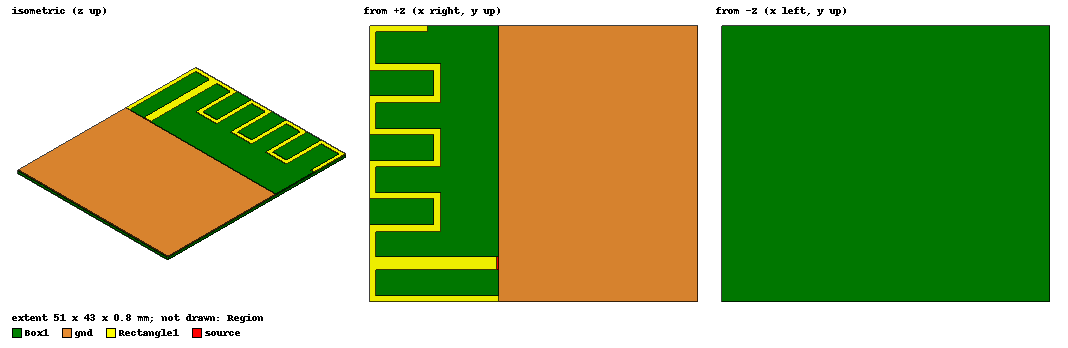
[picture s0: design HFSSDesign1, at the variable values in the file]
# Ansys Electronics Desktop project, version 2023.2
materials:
  vacuum: permittivity=1
  FR4_epoxy: permittivity=4.4 dielectric_loss_tangent=0.02

design HFSSDesign1 (HFSS, HFSS Terminal Network, model units mm)
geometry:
  Box1 [FR4_epoxy] = box(corner=(0mm, 0mm, 0mm), size=(51mm, 43mm, 0.8mm))
  gnd = rectangle(corner=(51mm, 43mm, 0.8mm), x_size=-31mm, y_size=-43mm)
  Rectangle1 = rectangle(corner=(20mm, 0mm, 0.8mm), x_size=-20mm, y_size=1mm)
  Rectangle2 = rectangle(corner=(0mm, 1mm, 0.8mm), x_size=1mm, y_size=4mm)
  MEandred = rectangle(corner=(0mm, 7mm, 0.8mm), x_size=1mm, y_size=5mm)
  Rectangle5 = rectangle(corner=(1mm, 12mm, 0.8mm), x_size=10mm, y_size=-1mm)
  Rectangle6 = rectangle(corner=(11mm, 12mm, 0.8mm), x_size=-1mm, y_size=5mm)
  Rectangle7 = rectangle(corner=(10mm, 17mm, 0.8mm), x_size=-10mm, y_size=-1mm)
  Rectangle8 = rectangle(corner=(0mm, 17mm, 0.8mm), x_size=1mm, y_size=5mm)
  Rectangle9 = rectangle(corner=(1mm, 22mm, 0.8mm), x_size=10mm, y_size=-1mm)
  Rectangle10 = rectangle(corner=(11mm, 22mm, 0.8mm), x_size=-1mm, y_size=5mm)
  Rectangle11 = rectangle(corner=(10mm, 27mm, 0.8mm), x_size=-10mm, y_size=-1mm)
  Rectangle12 = rectangle(corner=(1mm, 27mm, 0.8mm), x_size=-1mm, y_size=5mm)
  Rectangle13 = rectangle(corner=(1mm, 32mm, 0.8mm), x_size=10mm, y_size=-1mm)
  Rectangle14 = rectangle(corner=(11mm, 32mm, 0.8mm), x_size=-1mm, y_size=5mm)
  Rectangle15 = rectangle(corner=(10mm, 37mm, 0.8mm), x_size=-10mm, y_size=-1mm)
  Rectangle16 = rectangle(corner=(1mm, 37mm, 0.8mm), x_size=-1mm, y_size=5mm)
  Rectangle17 = rectangle(corner=(0mm, 42mm, 0.8mm), x_size=9mm, y_size=1mm)
  Rectangle17.unite(Rectangle16, Rectangle15, Rectangle14, Rectangle13, Rectangle12, Rectangle11, Rectangle10, Rectangle9, Rectangle8, Rectangle7, Rectangle6, Rectangle5)
  MEandred.unite(Rectangle17)
  Rectangle1.unite(Rectangle2)
  Rectangle18 = rectangle(corner=(1mm, 7mm, 0.8mm), x_size=-1mm, y_size=-2mm)
  Rectangle1.unite(Rectangle18, MEandred)
  feed = rectangle(corner=(1mm, 5mm, 0.8mm), x_size=18.8mm, y_size=2mm)
  source = rectangle(corner=(19.8mm, 7mm, 0.8mm), x_size=0.2mm, y_size=-2mm)
  Region [vacuum] = region(absolute_offset=15mm on all sides)
  Rectangle1.unite(feed)
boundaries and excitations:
  PerfE: Perfect E Faces=Rectangle1.face(at (10, 21.5, 0.8)) gnd.face
  1: Lumped Port Faces=source.face LumpedPortType=Modal Modes{Mode1{IntLine{(20, 6, 0.8) -> (19.8, 6, 0.8)} CharImp=Zpi RenormImp=50ohm}} Impedance=50ohm
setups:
  Setup1: HfssDriven Frequency=1GHz MaxDeltaS=0.01 MaximumPasses=50 MinimumPasses=1 MinimumConvergedPasses=1 PercentRefinement=30 BasisOrder=1 PortAccuracy=2 DrivenSolverType="Direct Solver"
    sweep Sweep: 0.4GHz to 1.6GHz step 0.025GHz; Type=Discrete SaveFields
  Setup2: HfssDriven Frequency=1GHz MaxDeltaS=0.01 MaximumPasses=50 MinimumPasses=1 MinimumConvergedPasses=1 PercentRefinement=30 BasisOrder=1 PortAccuracy=2 DrivenSolverType="Direct Solver"
    sweep Sweep: 0.5GHz to 1.5GHz step 0.01GHz; Type=Discrete SaveFields
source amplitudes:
  1:1: 1V 0deg
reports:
  S Parameter Plot 1: dB(S(1,1)) vs Freq on Setup1 : Sweep; markers m1 at 0.875GHz
  Terminal S Parameter Plot 1: dB(St(1,1)) vs Freq on Setup2 : Sweep
